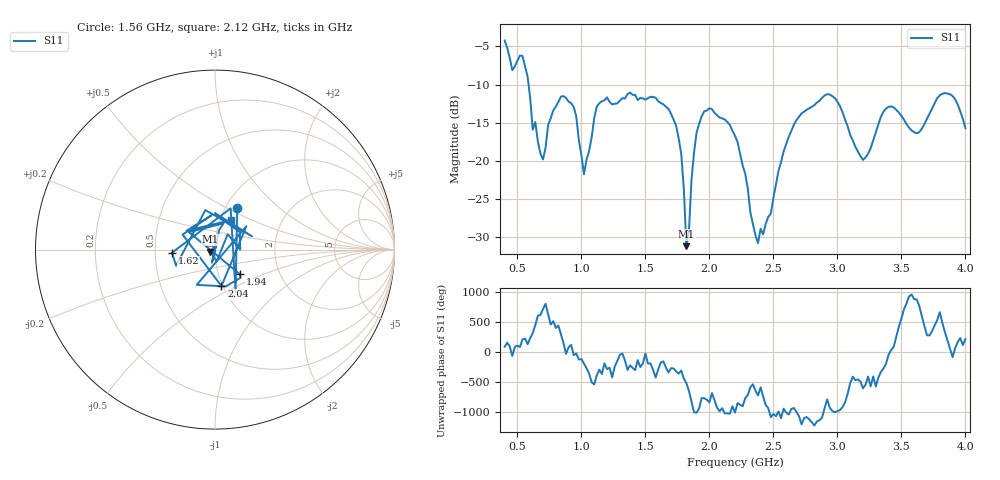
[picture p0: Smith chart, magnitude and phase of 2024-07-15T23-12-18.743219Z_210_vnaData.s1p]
!Created with skrf (http://scikit-rf.org).
# Hz S RI R 50.0
!freq ReS11 ImS11
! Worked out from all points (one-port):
!   181 points, 400 MHz to 4 GHz, reference 50 ohm
!   lowest |S11| = -31.2 dB at 1.82 GHz (marker M1), VSWR 1.06, Z = 47.5 - j1.04 ohm
!   |S11| at or under -10 dB: 587.1 MHz to end of sweep
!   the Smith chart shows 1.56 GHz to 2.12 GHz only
!   S11 on the Smith chart (normalised r, x): 1.56 GHz: 1.13, +0.56; 1.62 GHz: 0.61, -0.02; 1.94 GHz: 1.27, -0.36; 2.04 GHz: 0.99, -0.42; 2.12 GHz: 1.13, +0.38
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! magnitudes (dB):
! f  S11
! 400 MHz  -4.2
! 460 MHz  -8.1
! 540 MHz  -6.3
! 700 MHz  -19.8
! 860 MHz  -11.5
! 960 MHz  -14.2
! 1.02 GHz  -21.8
! 1.12 GHz  -12.9
! 1.3 GHz  -12.1
! 1.56 GHz  -11.6
! 1.62 GHz  -12.4
! 1.76 GHz  -17.0
! 1.8 GHz  -23.6
! 1.82 GHz  -31.2
! 1.88 GHz  -18.9
! 1.94 GHz  -14.1
! 2.04 GHz  -13.7
! 2.12 GHz  -14.6
! 2.2 GHz  -16.7
! 2.38 GHz  -30.8
! 2.66 GHz  -15.2
! 2.94 GHz  -11.3
! 3.1 GHz  -16.6
! 3.2 GHz  -19.9
! 3.38 GHz  -13.1
! 3.56 GHz  -15.7
! 3.84 GHz  -11.1
! 4 GHz  -15.7
